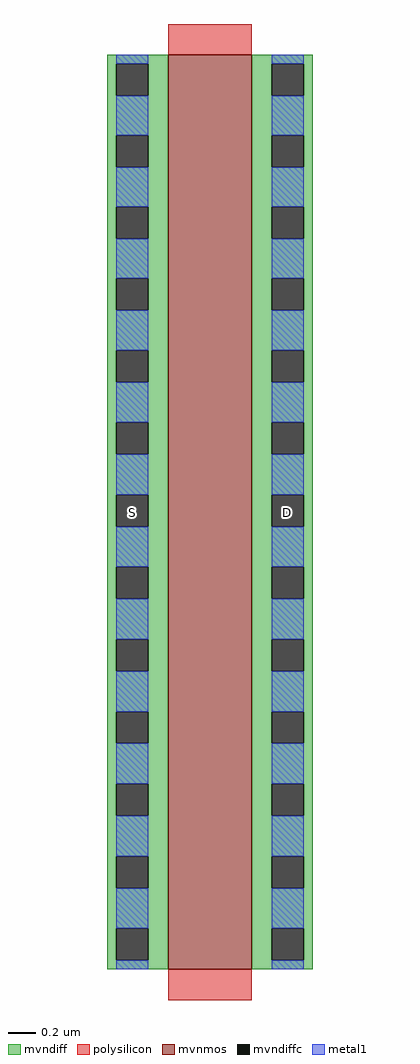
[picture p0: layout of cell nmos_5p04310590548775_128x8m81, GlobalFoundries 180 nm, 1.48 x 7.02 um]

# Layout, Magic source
magic
tech gf180mcuC
magscale 1 10
<< mvnmos >>
rect 0 0 120 1316
<< mvndiff >>
rect -88 1303 0 1316
rect -88 1257 -75 1303
rect -29 1257 0 1303
rect -88 1200 0 1257
rect -88 1154 -75 1200
rect -29 1154 0 1200
rect -88 1097 0 1154
rect -88 1051 -75 1097
rect -29 1051 0 1097
rect -88 994 0 1051
rect -88 948 -75 994
rect -29 948 0 994
rect -88 891 0 948
rect -88 845 -75 891
rect -29 845 0 891
rect -88 787 0 845
rect -88 741 -75 787
rect -29 741 0 787
rect -88 683 0 741
rect -88 637 -75 683
rect -29 637 0 683
rect -88 579 0 637
rect -88 533 -75 579
rect -29 533 0 579
rect -88 475 0 533
rect -88 429 -75 475
rect -29 429 0 475
rect -88 371 0 429
rect -88 325 -75 371
rect -29 325 0 371
rect -88 267 0 325
rect -88 221 -75 267
rect -29 221 0 267
rect -88 163 0 221
rect -88 117 -75 163
rect -29 117 0 163
rect -88 59 0 117
rect -88 13 -75 59
rect -29 13 0 59
rect -88 0 0 13
rect 120 1303 208 1316
rect 120 1257 149 1303
rect 195 1257 208 1303
rect 120 1200 208 1257
rect 120 1154 149 1200
rect 195 1154 208 1200
rect 120 1097 208 1154
rect 120 1051 149 1097
rect 195 1051 208 1097
rect 120 994 208 1051
rect 120 948 149 994
rect 195 948 208 994
rect 120 891 208 948
rect 120 845 149 891
rect 195 845 208 891
rect 120 787 208 845
rect 120 741 149 787
rect 195 741 208 787
rect 120 683 208 741
rect 120 637 149 683
rect 195 637 208 683
rect 120 579 208 637
rect 120 533 149 579
rect 195 533 208 579
rect 120 475 208 533
rect 120 429 149 475
rect 195 429 208 475
rect 120 371 208 429
rect 120 325 149 371
rect 195 325 208 371
rect 120 267 208 325
rect 120 221 149 267
rect 195 221 208 267
rect 120 163 208 221
rect 120 117 149 163
rect 195 117 208 163
rect 120 59 208 117
rect 120 13 149 59
rect 195 13 208 59
rect 120 0 208 13
<< mvndiffc >>
rect -75 1257 -29 1303
rect -75 1154 -29 1200
rect -75 1051 -29 1097
rect -75 948 -29 994
rect -75 845 -29 891
rect -75 741 -29 787
rect -75 637 -29 683
rect -75 533 -29 579
rect -75 429 -29 475
rect -75 325 -29 371
rect -75 221 -29 267
rect -75 117 -29 163
rect -75 13 -29 59
rect 149 1257 195 1303
rect 149 1154 195 1200
rect 149 1051 195 1097
rect 149 948 195 994
rect 149 845 195 891
rect 149 741 195 787
rect 149 637 195 683
rect 149 533 195 579
rect 149 429 195 475
rect 149 325 195 371
rect 149 221 195 267
rect 149 117 195 163
rect 149 13 195 59
<< polysilicon >>
rect 0 1316 120 1360
rect 0 -44 120 0
<< metal1 >>
rect -75 1303 -29 1316
rect -75 1200 -29 1257
rect -75 1097 -29 1154
rect -75 994 -29 1051
rect -75 891 -29 948
rect -75 787 -29 845
rect -75 683 -29 741
rect -75 579 -29 637
rect -75 475 -29 533
rect -75 371 -29 429
rect -75 267 -29 325
rect -75 163 -29 221
rect -75 59 -29 117
rect -75 0 -29 13
rect 149 1303 195 1316
rect 149 1200 195 1257
rect 149 1097 195 1154
rect 149 994 195 1051
rect 149 891 195 948
rect 149 787 195 845
rect 149 683 195 741
rect 149 579 195 637
rect 149 475 195 533
rect 149 371 195 429
rect 149 267 195 325
rect 149 163 195 221
rect 149 59 195 117
rect 149 0 195 13
<< labels >>
flabel metal1 s -52 658 -52 658 0 FreeSans 200 0 0 0 S
flabel metal1 s 172 658 172 658 0 FreeSans 200 0 0 0 D
<< properties >>
string GDS_END 99592
string GDS_FILE $PDKPATH/libs.ref/gf180mcu_fd_ip_sram/gds/gf180mcu_fd_ip_sram__sram128x8m8wm1.gds
string GDS_START 97032
<< end >>
